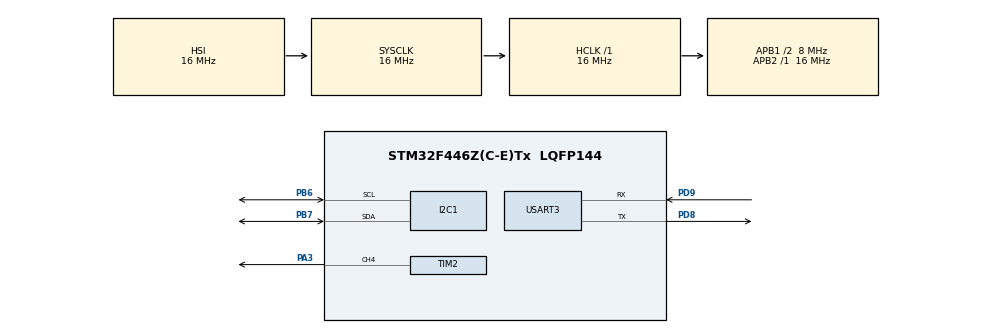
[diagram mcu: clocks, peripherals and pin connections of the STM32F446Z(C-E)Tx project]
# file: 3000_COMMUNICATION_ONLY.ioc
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Mcu.Family=STM32F4
Mcu.Name=STM32F446Z(C-E)Tx
Mcu.Package=LQFP144
NVIC.PriorityGroup=NVIC_PRIORITYGROUP_4
PA3.Signal=S_TIM2_CH4
PB6.Mode=I2C
PB6.Signal=I2C1_SCL
PB7.Mode=I2C
PB7.Signal=I2C1_SDA
PD8.Mode=Asynchronous
PD8.Signal=USART3_TX
PD9.Mode=Asynchronous
PD9.Signal=USART3_RX
ProjectManager.HeapSize=0x200
ProjectManager.StackSize=0x400
ProjectManager.TargetToolchain=STM32CubeIDE
RCC.48MHZClocksFreq_Value=24000000
RCC.AHBFreq_Value=16000000
RCC.APB1CLKDivider=RCC_HCLK_DIV2
RCC.APB1Freq_Value=8000000
RCC.APB1TimFreq_Value=16000000
RCC.APB2Freq_Value=16000000
RCC.APB2TimFreq_Value=16000000
RCC.CortexFreq_Value=16000000
RCC.HCLKFreq_Value=16000000
RCC.HSE_VALUE=8000000
RCC.HSI_VALUE=16000000
RCC.LSE_VALUE=32768
RCC.PLLMUL=RCC_PLL_MUL9
RCC.PRESCALERUSB=RCC_USBCLKSOURCE_PLL_DIV1_5
RCC.SYSCLKFreq_VALUE=16000000
RCC.SYSCLKSourceVirtual=RCC_SYSCLKSOURCE_PLLCLK
RCC.USBFreq_Value=96000000
RCC.VCOOutputFreq_Value=192000000
SH.S_TIM2_CH4.0=TIM2_CH4,Output Compare4 CH4
TIM2.Channel-Output\ Compare4\ CH4=TIM_CHANNEL_4
USART3.VirtualMode=VM_ASYNC
board=NUCLEO-F446ZE

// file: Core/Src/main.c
/* USER CODE BEGIN Header */
/**
 ******************************************************************************
 * @file           : main.c
 * @brief          : Main program body
 ******************************************************************************
 * @attention
 *
 * Copyright (c) 2026 STMicroelectronics.
 * All rights reserved.
 *
 * This software is licensed under terms that can be found in the LICENSE file
 * in the root directory of this software component.
 * If no LICENSE file comes with this software, it is provided AS-IS.
 *
 ******************************************************************************
 */
/* USER CODE END Header */
#include "main.h"

/* USER CODE BEGIN Includes */
#include<stdio.h>
#include<stdbool.h>
#include<stdint.h>
#include<string.h>
#include<math.h>
#include<stdlib.h>

#include "Encoderlib.h"
#include "PCA9685.h"
#include "Cytron.h"
#include "SPIT.h"
/* USER CODE END Includes */

/* USER CODE BEGIN PTD */
#define DATA_SIZE 		7
#define SLAVE_ADDR 		8
#define DEADZONE  		20

/* USER CODE END PTD */

/* USER CODE BEGIN PD */

int8_t data[DATA_SIZE];
char msg[300];

typedef struct{
	int LX;
	int LY;
	int RX;
	int RY;
	int Omega;
}JoystickData;

typedef struct{
	bool Right;
	bool Down;
	bool Up;
	bool Left;
	bool Square;
	bool Cross;
	bool Circle;
	bool Triangle;

	bool PS;
	bool Touchpad;
	bool Options;
	bool Share;
	bool R3;
	bool L3;
	bool R1;
	bool L1;
}PS4Data;

PS4Data 	PS4 		= {0};
JoystickData    Joystick 	= {0};

/* USER CODE END PD */

I2C_HandleTypeDef hi2c1;

TIM_HandleTypeDef htim2;

UART_HandleTypeDef huart3;

void SystemClock_Config(void);
static void MX_GPIO_Init(void);
static void MX_I2C1_Init(void);
static void MX_USART3_UART_Init(void);
static void MX_TIM2_Init(void);

/* USER CODE BEGIN 0 */

void get_value() {

	HAL_StatusTypeDef I2C_Status = HAL_I2C_Master_Receive(&hi2c1, SLAVE_ADDR << 1, (uint8_t*) data, DATA_SIZE, HAL_MAX_DELAY);
		if (I2C_Status == HAL_OK) {
			PS4.Up 			= ((data[0] & (1 << 0)) ? 1 : 0);
			PS4.Right 		= ((data[0] & (1 << 1)) ? 1 : 0);
			PS4.Down 		= ((data[0] & (1 << 2)) ? 1 : 0);
			PS4.Left 		= ((data[0] & (1 << 3)) ? 1 : 0);
			PS4.Triangle 	= ((data[0] & (1 << 4)) ? 1 : 0);
			PS4.Circle 		= ((data[0] & (1 << 5)) ? 1 : 0);
			PS4.Cross 		= ((data[0] & (1 << 6)) ? 1 : 0);
			PS4.Square 		= ((data[0] & (1 << 7)) ? 1 : 0);

			PS4.L1 			= ((data[1] & (1 << 0)) ? 1 : 0);
			PS4.R1 			= ((data[1] & (1 << 1)) ? 1 : 0);
			PS4.L3 			= ((data[1] & (1 << 2)) ? 1 : 0);
			PS4.R3 			= ((data[1] & (1 << 3)) ? 1 : 0);
			PS4.Share 		= ((data[1] & (1 << 4)) ? 1 : 0);
			PS4.Options 	= ((data[1] & (1 << 5)) ? 1 : 0);
			PS4.Touchpad 	= ((data[1] & (1 << 6)) ? 1 : 0);
			PS4.PS 			= ((data[1] & (1 << 7)) ? 1 : 0);

			Joystick.Omega 		= data[6];
			Joystick.RY			= data[5];
			Joystick.RX 			= data[4];
			Joystick.LY			= data[3];
			Joystick.LX 			= data[2];

			if (abs(Joystick.LX) < DEADZONE) {
				Joystick.LX = 0;
			}
			if (abs(Joystick.LY) < DEADZONE) {
				Joystick.LY = 0;
			}
			if (abs(Joystick.Omega) < DEADZONE) {
				Joystick.Omega = 0;
			}

//		sprintf(msg,
//				" sq %d x %d o %d tri %d left %d down %d right %d up %d  PS %d Touchpad %d Options %d Share %d R3 %d L3 %d R1 %d L1 %d lx %d ly %d rx %d ry%d omega %d \r\n",
//				square, cross, circle, triangle, left, down, right, up, PS,
//				Touchpad, Options, Share, R3, L3, R1, L1, L_joystick_x,
//				L_joystick_y, R_joystick_x, R_joystick_y, omega);
//
//		//sprintf(msg,"%d   %d\r\n" data[4], data[5]);
//		HAL_UART_Transmit(&huart3, (uint8_t*) msg, strlen(msg), HAL_MAX_DELAY);
//			spitf("SQ %d  X %d  O %d  TRI %d  LEFT %d  RIGHT %d  UP %d  DOWN %d  PS %d  TOUCHPAD %d  OPT %d  SHARE %d  R3 %d  L3 %d  R1 %d  L1 %d  LX %d  LY %d  RX %d  RY %d  OMEGA %d\r\n",
//							PS4.Square, PS4.Cross, PS4.Circle, PS4.Triangle,
//							PS4.Left, PS4.Down, PS4.Right, PS4.Up,
//							PS4.PS, PS4.Touchpad, PS4.Options, PS4.Share,
//							PS4.R3, PS4.L3, PS4.R1, PS4.L1,
//							Joystick.LX, Joystick.LY, Joystick.RX, Joystick.RY, Joystick.Omega);

			sprintf(msg,"SQ %d  X %d  O %d  TRI %d  LEFT %d  RIGHT %d  UP %d  DOWN %d  PS %d  TOUCH %d  OPT %d  SHARE %d  R3 %d  L3 %d  R1 %d  L1 %d  LX %d  LY %d  RX %d  RY %d  OMEGA %d\r\n",
							PS4.Square, 	PS4.Cross, 		PS4.Circle, 	PS4.Triangle,
							PS4.Left,		PS4.Down, 		PS4.Right, 		PS4.Up,
							PS4.PS,			PS4.Touchpad,	PS4.Options,	PS4.Share,
							PS4.R3, 		PS4.L3, 		PS4.R1, 		PS4.L1,
							Joystick.LX,	Joystick.LY, 	Joystick.RX, 	Joystick.RY, 	Joystick.Omega);
					HAL_UART_Transmit(&huart3, (uint8_t*) msg, strlen(msg), HAL_MAX_DELAY);

	}
}

/* USER CODE END 0 */

int main(void)
{

  /* MCU Configuration--------------------------------------------------------*/

  /* Reset of all peripherals, Initializes the Flash interface and the Systick. */
  HAL_Init();

  /* Configure the system clock */
  SystemClock_Config();

  /* Initialize all configured peripherals */
  MX_GPIO_Init();
  MX_I2C1_Init();
  MX_USART3_UART_Init();
  MX_TIM2_Init();
  /* USER CODE BEGIN 2 */
  spitDefault(&huart3);
  /* USER CODE END 2 */

  /* Infinite loop */
	while (1) {

    /* USER CODE BEGIN 3 */

		get_value();
		HAL_Delay(10);

	}
  /* USER CODE END 3 */
}

void SystemClock_Config(void)
{
  RCC_OscInitTypeDef RCC_OscInitStruct = {0};
  RCC_ClkInitTypeDef RCC_ClkInitStruct = {0};

  /** Configure the main internal regulator output voltage
  */
  __HAL_RCC_PWR_CLK_ENABLE();
  __HAL_PWR_VOLTAGESCALING_CONFIG(PWR_REGULATOR_VOLTAGE_SCALE3);

  /** Initializes the RCC Oscillators according to the specified parameters
  * in the RCC_OscInitTypeDef structure.
  */
  RCC_OscInitStruct.OscillatorType = RCC_OSCILLATORTYPE_HSI;
  RCC_OscInitStruct.HSIState = RCC_HSI_ON;
  RCC_OscInitStruct.HSICalibrationValue = RCC_HSICALIBRATION_DEFAULT;
  RCC_OscInitStruct.PLL.PLLState = RCC_PLL_NONE;
  if (HAL_RCC_OscConfig(&RCC_OscInitStruct) != HAL_OK)
  {
    Error_Handler();
  }

  /** Initializes the CPU, AHB and APB buses clocks
  */
  RCC_ClkInitStruct.ClockType = RCC_CLOCKTYPE_HCLK|RCC_CLOCKTYPE_SYSCLK
                              |RCC_CLOCKTYPE_PCLK1|RCC_CLOCKTYPE_PCLK2;
  RCC_ClkInitStruct.SYSCLKSource = RCC_SYSCLKSOURCE_HSI;
  RCC_ClkInitStruct.AHBCLKDivider = RCC_SYSCLK_DIV1;
  RCC_ClkInitStruct.APB1CLKDivider = RCC_HCLK_DIV2;
  RCC_ClkInitStruct.APB2CLKDivider = RCC_HCLK_DIV1;

  if (HAL_RCC_ClockConfig(&RCC_ClkInitStruct, FLASH_LATENCY_0) != HAL_OK)
  {
    Error_Handler();
  }
}

static void MX_I2C1_Init(void)
{

  hi2c1.Instance = I2C1;
  hi2c1.Init.ClockSpeed = 100000;
  hi2c1.Init.DutyCycle = I2C_DUTYCYCLE_2;
  hi2c1.Init.OwnAddress1 = 0;
  hi2c1.Init.AddressingMode = I2C_ADDRESSINGMODE_7BIT;
  hi2c1.Init.DualAddressMode = I2C_DUALADDRESS_DISABLE;
  hi2c1.Init.OwnAddress2 = 0;
  hi2c1.Init.GeneralCallMode = I2C_GENERALCALL_DISABLE;
  hi2c1.Init.NoStretchMode = I2C_NOSTRETCH_DISABLE;
  if (HAL_I2C_Init(&hi2c1) != HAL_OK)
  {
    Error_Handler();
  }

}

static void MX_TIM2_Init(void)
{

  TIM_MasterConfigTypeDef sMasterConfig = {0};
  TIM_OC_InitTypeDef sConfigOC = {0};

  htim2.Instance = TIM2;
  htim2.Init.Prescaler = 0;
  htim2.Init.CounterMode = TIM_COUNTERMODE_UP;
  htim2.Init.Period = 4294967295;
  htim2.Init.ClockDivision = TIM_CLOCKDIVISION_DIV1;
  htim2.Init.AutoReloadPreload = TIM_AUTORELOAD_PRELOAD_DISABLE;
  if (HAL_TIM_OC_Init(&htim2) != HAL_OK)
  {
    Error_Handler();
  }
  sMasterConfig.MasterOutputTrigger = TIM_TRGO_RESET;
  sMasterConfig.MasterSlaveMode = TIM_MASTERSLAVEMODE_DISABLE;
  if (HAL_TIMEx_MasterConfigSynchronization(&htim2, &sMasterConfig) != HAL_OK)
  {
    Error_Handler();
  }
  sConfigOC.OCMode = TIM_OCMODE_TIMING;
  sConfigOC.Pulse = 0;
  sConfigOC.OCPolarity = TIM_OCPOLARITY_HIGH;
  sConfigOC.OCFastMode = TIM_OCFAST_DISABLE;
  if (HAL_TIM_OC_ConfigChannel(&htim2, &sConfigOC, TIM_CHANNEL_4) != HAL_OK)
  {
    Error_Handler();
  }
  HAL_TIM_MspPostInit(&htim2);

}

static void MX_USART3_UART_Init(void)
{

  huart3.Instance = USART3;
  huart3.Init.BaudRate = 115200;
  huart3.Init.WordLength = UART_WORDLENGTH_8B;
  huart3.Init.StopBits = UART_STOPBITS_1;
  huart3.Init.Parity = UART_PARITY_NONE;
  huart3.Init.Mode = UART_MODE_TX_RX;
  huart3.Init.HwFlowCtl = UART_HWCONTROL_NONE;
  huart3.Init.OverSampling = UART_OVERSAMPLING_16;
  if (HAL_UART_Init(&huart3) != HAL_OK)
  {
    Error_Handler();
  }

}

static void MX_GPIO_Init(void)
{

  /* GPIO Ports Clock Enable */
  __HAL_RCC_GPIOA_CLK_ENABLE();
  __HAL_RCC_GPIOD_CLK_ENABLE();
  __HAL_RCC_GPIOB_CLK_ENABLE();

}

void Error_Handler(void)
{
	__disable_irq();
	while (1) {
	}
}
